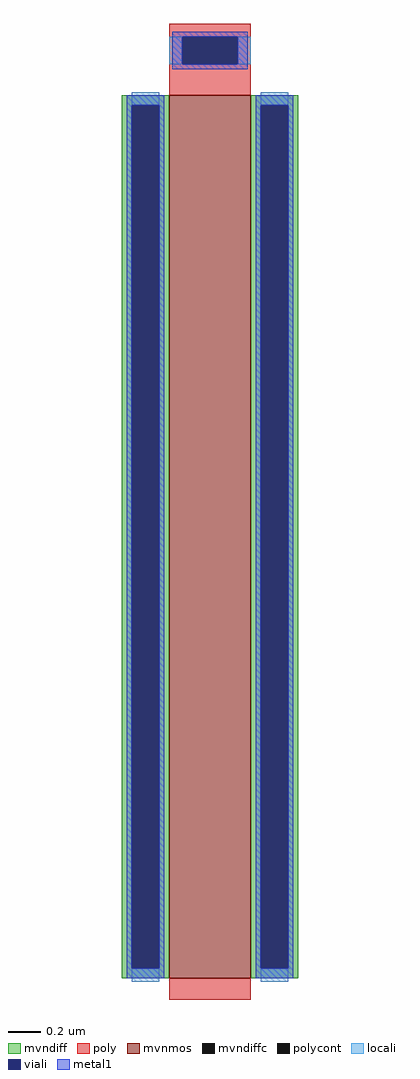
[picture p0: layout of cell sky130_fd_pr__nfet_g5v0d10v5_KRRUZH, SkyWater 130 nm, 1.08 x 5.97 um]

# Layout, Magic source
magic
tech sky130A
magscale 1 2
<< mvnmos >>
rect -50 -571 50 509
<< mvndiff >>
rect -108 497 -50 509
rect -108 -559 -96 497
rect -62 -559 -50 497
rect -108 -571 -50 -559
rect 50 497 108 509
rect 50 -559 62 497
rect 96 -559 108 497
rect 50 -571 108 -559
<< mvndiffc >>
rect -96 -559 -62 497
rect 62 -559 96 497
<< poly >>
rect -50 581 50 597
rect -50 547 -34 581
rect 34 547 50 581
rect -50 509 50 547
rect -50 -597 50 -571
<< polycont >>
rect -34 547 34 581
<< locali >>
rect -50 547 -34 581
rect 34 547 50 581
rect -96 497 -62 513
rect -96 -575 -62 -559
rect 62 497 96 513
rect 62 -575 96 -559
<< viali >>
rect -34 547 34 581
rect -96 -559 -62 497
rect 62 -559 96 497
<< metal1 >>
rect -46 581 46 587
rect -46 547 -34 581
rect 34 547 46 581
rect -46 541 46 547
rect -102 497 -56 509
rect -102 -559 -96 497
rect -62 -559 -56 497
rect -102 -571 -56 -559
rect 56 497 102 509
rect 56 -559 62 497
rect 96 -559 102 497
rect 56 -571 102 -559
<< properties >>
string gencell sky130_fd_pr__nfet_g5v0d10v5
string library sky130
string parameters w 5.4 l 0.5 m 1 nf 1 diffcov 100 polycov 100 guard 0 glc 1 grc 1 gtc 1 gbc 1 tbcov 100 rlcov 100 topc 1 botc 0 poverlap 0 doverlap 1 lmin 0.50 wmin 0.42 compatible {sky130_fd_pr__nfet_01v8 sky130_fd_pr__nfet_01v8_lvt  sky130_fd_bs_flash__special_sonosfet_star  sky130_fd_pr__nfet_g5v0d10v5 sky130_fd_pr__nfet_05v0_nvt  sky130_fd_pr__nfet_03v3_nvt} full_metal 1 viasrc 100 viadrn 100 viagate 100 viagb 0 viagr 0 viagl 0 viagt 0
<< end >>
